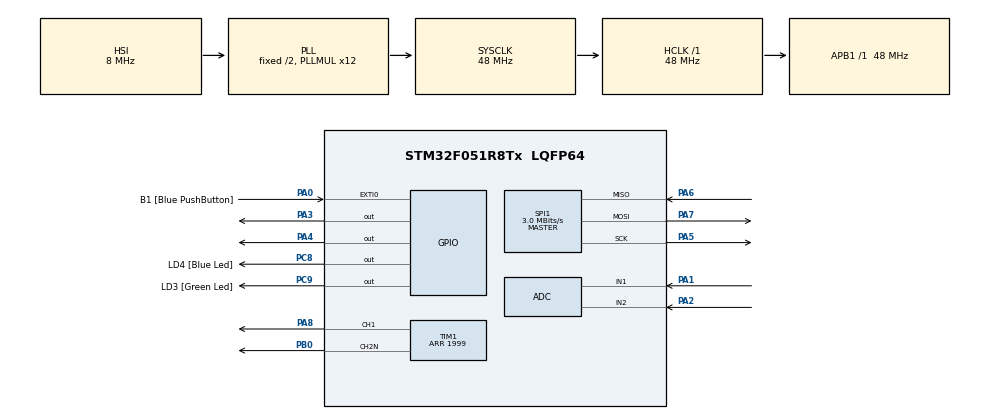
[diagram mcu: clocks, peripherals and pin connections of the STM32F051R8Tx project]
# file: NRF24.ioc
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ADC.ContinuousConvMode=ENABLE
ADC.DMAContinuousRequests=ENABLE
ADC.EOCSelection=ADC_EOC_SEQ_CONV
ADC.SamplingTime=ADC_SAMPLETIME_239CYCLES_5
Dma.ADC.0.Direction=DMA_PERIPH_TO_MEMORY
Dma.ADC.0.Instance=DMA1_Channel1
Dma.ADC.0.MemDataAlignment=DMA_MDATAALIGN_HALFWORD
Dma.ADC.0.MemInc=DMA_MINC_ENABLE
Dma.ADC.0.Mode=DMA_CIRCULAR
Dma.ADC.0.PeriphDataAlignment=DMA_PDATAALIGN_HALFWORD
Dma.ADC.0.PeriphInc=DMA_PINC_DISABLE
Dma.ADC.0.Priority=DMA_PRIORITY_LOW
Dma.Request0=ADC
Mcu.Family=STM32F0
Mcu.Name=STM32F051R8Tx
Mcu.Package=LQFP64
NVIC.ADC1_COMP_IRQn=true\:0\:0\:false\:false\:true\:true\:true\:true
NVIC.DMA1_Channel1_IRQn=true\:0\:0\:false\:false\:true\:false\:true\:true
PA0.GPIO_Label=B1 [Blue PushButton]
PA0.GPIO_ModeDefaultEXTI=GPIO_MODE_EVT_RISING
PA0.Signal=GPXTI0
PA1.Mode=IN1
PA1.Signal=ADC_IN1
PA13.GPIO_Label=SWDIO
PA13.Mode=Serial_Wire
PA13.Signal=SYS_SWDIO
PA14.GPIO_Label=SWCLK
PA14.Mode=Serial_Wire
PA14.Signal=SYS_SWCLK
PA2.Mode=IN2
PA2.Signal=ADC_IN2
PA3.Signal=GPIO_Output
PA4.Signal=GPIO_Output
PA5.Mode=Full_Duplex_Master
PA5.Signal=SPI1_SCK
PA6.Mode=Full_Duplex_Master
PA6.Signal=SPI1_MISO
PA7.Mode=Full_Duplex_Master
PA7.Signal=SPI1_MOSI
PA8.Signal=S_TIM1_CH1
PB0.Mode=PWM Generation2 CH2N
PB0.Signal=TIM1_CH2N
PC8.GPIO_Label=LD4 [Blue Led]
PC8.Signal=GPIO_Output
PC9.GPIO_Label=LD3 [Green Led]
PC9.Signal=GPIO_Output
PF0-OSC_IN.Mode=HSE-External-Oscillator
PF0-OSC_IN.Signal=RCC_OSC_IN
PF1-OSC_OUT.Mode=HSE-External-Oscillator
PF1-OSC_OUT.Signal=RCC_OSC_OUT
ProjectManager.HeapSize=0x200
ProjectManager.StackSize=0x400
ProjectManager.TargetToolchain=MDK-ARM V5.32
RCC.AHBFreq_Value=48000000
RCC.APB1Freq_Value=48000000
RCC.APB1TimFreq_Value=48000000
RCC.HCLKFreq_Value=48000000
RCC.PLLMUL=RCC_PLL_MUL12
RCC.SYSCLKFreq_VALUE=48000000
RCC.SYSCLKSource=RCC_SYSCLKSOURCE_PLLCLK
SH.S_TIM1_CH1.0=TIM1_CH1,PWM Generation1 CH1
SPI1.BaudRatePrescaler=SPI_BAUDRATEPRESCALER_16
SPI1.CalculateBaudRate=3.0 MBits/s
SPI1.DataSize=SPI_DATASIZE_8BIT
SPI1.Direction=SPI_DIRECTION_2LINES
SPI1.Mode=SPI_MODE_MASTER
SPI1.VirtualType=VM_MASTER
TIM1.Channel-PWM\ Generation1\ CH1=TIM_CHANNEL_1
TIM1.Channel-PWM\ Generation2\ CH2N=TIM_CHANNEL_2
TIM1.Period=1999
board=STM32F0DISCOVERY

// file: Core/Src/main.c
 /* USER CODE BEGIN Header */
/**
  ******************************************************************************
  * @file           : main.c
  * @brief          : Main program body
  ******************************************************************************
  * @attention
  *
  * Copyright (c) 2025 STMicroelectronics.
  * All rights reserved.
  *
  * This software is licensed under terms that can be found in the LICENSE file
  * in the root directory of this software component.
  * If no LICENSE file comes with this software, it is provided AS-IS.
  *
  ******************************************************************************
  */
/* USER CODE END Header */
#include "main.h"

/* USER CODE BEGIN Includes */
#include "NRF.h"
/* USER CODE END Includes */

ADC_HandleTypeDef hadc;
DMA_HandleTypeDef hdma_adc;

SPI_HandleTypeDef hspi1;

TIM_HandleTypeDef htim1;

void SystemClock_Config(void);
static void MX_GPIO_Init(void);
static void MX_DMA_Init(void);
static void MX_SPI1_Init(void);
static void MX_TIM1_Init(void);
static void MX_ADC_Init(void);
/* USER CODE BEGIN PFP */
uint16_t ADC_to_CCR(uint16_t adc);
/* USER CODE END PFP */

/* USER CODE BEGIN 0 */
int a = 0;
uint16_t b = 0;
int TX_EMPTY = 5;
int DataInFifo = 5;
uint8_t receivedData = 0;
uint8_t status;

uint8_t TxAddress[] = {0xEE,0xDD,0xCC,0xBB,0xAA};
uint8_t RxAddress[] = {0xEE,0xDD,0xCC,0xBB,0xAA};
uint8_t TxData[5];   // 32-byte buffer
uint8_t RxData[32];
uint8_t number = 5;

uint8_t data[50];

uint8_t last_press = 0;
uint8_t last_btn  = 0;

uint16_t arr[2] = {0,0};
uint16_t x1, x2, y1, y2;
uint16_t rx[2] = {0,0};

uint8_t rf;
uint8_t cfg;

/* USER CODE END 0 */

int main(void)
{

  /* MCU Configuration--------------------------------------------------------*/

  /* Reset of all peripherals, Initializes the Flash interface and the Systick. */
  HAL_Init();

  /* Configure the system clock */
  SystemClock_Config();

  /* Initialize all configured peripherals */
  MX_GPIO_Init();
  MX_DMA_Init();
  MX_SPI1_Init();
  MX_TIM1_Init();
  MX_ADC_Init();
  /* USER CODE BEGIN 2 */

  HAL_ADC_Start_DMA(&hadc, (uint32_t*)arr, 2);
	/* Initialize NRF24L01 */
	NRF24_Init();
//	NRF24_RxMode(RxAddress, 76);
	NRF24_TxMode(TxAddress, 76);
//	TxData[0] = 42;
//    NRF24_Init();
//
//     /* Switch to RX mode */
//    NRF24_TxMode();
//    uint8_t txData = 5;
    /* Buffer to receive integer data */

//		uint8_t st = nrf24_ReadReg(STATUS);
//if (st == 0x00 || st == 0xFF) {
//    // SPI/power/wiring problem
//    while (1) {
//        HAL_GPIO_TogglePin(GPIOC, GPIO_PIN_8);
//        HAL_Delay(100);   // fast blink = SPI dead
//    }
//} else {
//    while (1) {
//        HAL_GPIO_TogglePin(GPIOC, GPIO_PIN_8);
//        HAL_Delay(1000);   // slow blink = SPI OK
//    }
//}

	rf = nrf24_ReadReg(RF_SETUP);
	cfg = nrf24_ReadReg(CONFIG);

//		HAL_GPIO_WritePin(GPIOB, GPIO_PIN_13, GPIO_PIN_SET);
  /* USER CODE END 2 */

  /* Infinite loop */
  while (1)
  {

    /* USER CODE BEGIN 3 */

		uint16_t x, y;

    __disable_irq();
    x = arr[0];
    y = arr[1];
    __enable_irq();

    TxData[0] = (uint8_t)(x & 0xFF);
    TxData[1] = (uint8_t)(x >> 8);
    TxData[2] = (uint8_t)(y & 0xFF);
    TxData[3] = (uint8_t)(y >> 8);

    if (NRF24_Transmit(TxData) == 1)
    {
        b++;
        HAL_GPIO_TogglePin(GPIOC, GPIO_PIN_9);
    }

    HAL_Delay(10);

  }
  /* USER CODE END 3 */
}

void SystemClock_Config(void)
{
  RCC_OscInitTypeDef RCC_OscInitStruct = {0};
  RCC_ClkInitTypeDef RCC_ClkInitStruct = {0};

  /** Initializes the RCC Oscillators according to the specified parameters
  * in the RCC_OscInitTypeDef structure.
  */
  RCC_OscInitStruct.OscillatorType = RCC_OSCILLATORTYPE_HSI|RCC_OSCILLATORTYPE_HSI14;
  RCC_OscInitStruct.HSIState = RCC_HSI_ON;
  RCC_OscInitStruct.HSI14State = RCC_HSI14_ON;
  RCC_OscInitStruct.HSICalibrationValue = RCC_HSICALIBRATION_DEFAULT;
  RCC_OscInitStruct.HSI14CalibrationValue = 16;
  RCC_OscInitStruct.PLL.PLLState = RCC_PLL_ON;
  RCC_OscInitStruct.PLL.PLLSource = RCC_PLLSOURCE_HSI;
  RCC_OscInitStruct.PLL.PLLMUL = RCC_PLL_MUL12;
  RCC_OscInitStruct.PLL.PREDIV = RCC_PREDIV_DIV1;
  if (HAL_RCC_OscConfig(&RCC_OscInitStruct) != HAL_OK)
  {
    Error_Handler();
  }

  /** Initializes the CPU, AHB and APB buses clocks
  */
  RCC_ClkInitStruct.ClockType = RCC_CLOCKTYPE_HCLK|RCC_CLOCKTYPE_SYSCLK
                              |RCC_CLOCKTYPE_PCLK1;
  RCC_ClkInitStruct.SYSCLKSource = RCC_SYSCLKSOURCE_PLLCLK;
  RCC_ClkInitStruct.AHBCLKDivider = RCC_SYSCLK_DIV1;
  RCC_ClkInitStruct.APB1CLKDivider = RCC_HCLK_DIV1;

  if (HAL_RCC_ClockConfig(&RCC_ClkInitStruct, FLASH_LATENCY_1) != HAL_OK)
  {
    Error_Handler();
  }
}

static void MX_ADC_Init(void)
{

  ADC_ChannelConfTypeDef sConfig = {0};

  /** Configure the global features of the ADC (Clock, Resolution, Data Alignment and number of conversion)
  */
  hadc.Instance = ADC1;
  hadc.Init.ClockPrescaler = ADC_CLOCK_ASYNC_DIV1;
  hadc.Init.Resolution = ADC_RESOLUTION_12B;
  hadc.Init.DataAlign = ADC_DATAALIGN_RIGHT;
  hadc.Init.ScanConvMode = ADC_SCAN_DIRECTION_FORWARD;
  hadc.Init.EOCSelection = ADC_EOC_SEQ_CONV;
  hadc.Init.LowPowerAutoWait = DISABLE;
  hadc.Init.LowPowerAutoPowerOff = DISABLE;
  hadc.Init.ContinuousConvMode = ENABLE;
  hadc.Init.DiscontinuousConvMode = DISABLE;
  hadc.Init.ExternalTrigConv = ADC_SOFTWARE_START;
  hadc.Init.ExternalTrigConvEdge = ADC_EXTERNALTRIGCONVEDGE_NONE;
  hadc.Init.DMAContinuousRequests = ENABLE;
  hadc.Init.Overrun = ADC_OVR_DATA_PRESERVED;
  if (HAL_ADC_Init(&hadc) != HAL_OK)
  {
    Error_Handler();
  }

  /** Configure for the selected ADC regular channel to be converted.
  */
  sConfig.Channel = ADC_CHANNEL_1;
  sConfig.Rank = ADC_RANK_CHANNEL_NUMBER;
  sConfig.SamplingTime = ADC_SAMPLETIME_239CYCLES_5;
  if (HAL_ADC_ConfigChannel(&hadc, &sConfig) != HAL_OK)
  {
    Error_Handler();
  }

  /** Configure for the selected ADC regular channel to be converted.
  */
  sConfig.Channel = ADC_CHANNEL_2;
  if (HAL_ADC_ConfigChannel(&hadc, &sConfig) != HAL_OK)
  {
    Error_Handler();
  }

}

static void MX_SPI1_Init(void)
{

  /* SPI1 parameter configuration*/
  hspi1.Instance = SPI1;
  hspi1.Init.Mode = SPI_MODE_MASTER;
  hspi1.Init.Direction = SPI_DIRECTION_2LINES;
  hspi1.Init.DataSize = SPI_DATASIZE_8BIT;
  hspi1.Init.CLKPolarity = SPI_POLARITY_LOW;
  hspi1.Init.CLKPhase = SPI_PHASE_1EDGE;
  hspi1.Init.NSS = SPI_NSS_SOFT;
  hspi1.Init.BaudRatePrescaler = SPI_BAUDRATEPRESCALER_16;
  hspi1.Init.FirstBit = SPI_FIRSTBIT_MSB;
  hspi1.Init.TIMode = SPI_TIMODE_DISABLE;
  hspi1.Init.CRCCalculation = SPI_CRCCALCULATION_DISABLE;
  hspi1.Init.CRCPolynomial = 7;
  hspi1.Init.CRCLength = SPI_CRC_LENGTH_DATASIZE;
  hspi1.Init.NSSPMode = SPI_NSS_PULSE_ENABLE;
  if (HAL_SPI_Init(&hspi1) != HAL_OK)
  {
    Error_Handler();
  }

}

static void MX_TIM1_Init(void)
{

  TIM_MasterConfigTypeDef sMasterConfig = {0};
  TIM_OC_InitTypeDef sConfigOC = {0};
  TIM_BreakDeadTimeConfigTypeDef sBreakDeadTimeConfig = {0};

  htim1.Instance = TIM1;
  htim1.Init.Prescaler = 0;
  htim1.Init.CounterMode = TIM_COUNTERMODE_UP;
  htim1.Init.Period = 1999;
  htim1.Init.ClockDivision = TIM_CLOCKDIVISION_DIV1;
  htim1.Init.RepetitionCounter = 0;
  htim1.Init.AutoReloadPreload = TIM_AUTORELOAD_PRELOAD_DISABLE;
  if (HAL_TIM_PWM_Init(&htim1) != HAL_OK)
  {
    Error_Handler();
  }
  sMasterConfig.MasterOutputTrigger = TIM_TRGO_RESET;
  sMasterConfig.MasterSlaveMode = TIM_MASTERSLAVEMODE_DISABLE;
  if (HAL_TIMEx_MasterConfigSynchronization(&htim1, &sMasterConfig) != HAL_OK)
  {
    Error_Handler();
  }
  sConfigOC.OCMode = TIM_OCMODE_PWM1;
  sConfigOC.Pulse = 0;
  sConfigOC.OCPolarity = TIM_OCPOLARITY_HIGH;
  sConfigOC.OCNPolarity = TIM_OCNPOLARITY_HIGH;
  sConfigOC.OCFastMode = TIM_OCFAST_DISABLE;
  sConfigOC.OCIdleState = TIM_OCIDLESTATE_RESET;
  sConfigOC.OCNIdleState = TIM_OCNIDLESTATE_RESET;
  if (HAL_TIM_PWM_ConfigChannel(&htim1, &sConfigOC, TIM_CHANNEL_1) != HAL_OK)
  {
    Error_Handler();
  }
  if (HAL_TIM_PWM_ConfigChannel(&htim1, &sConfigOC, TIM_CHANNEL_2) != HAL_OK)
  {
    Error_Handler();
  }
  sBreakDeadTimeConfig.OffStateRunMode = TIM_OSSR_DISABLE;
  sBreakDeadTimeConfig.OffStateIDLEMode = TIM_OSSI_DISABLE;
  sBreakDeadTimeConfig.LockLevel = TIM_LOCKLEVEL_OFF;
  sBreakDeadTimeConfig.DeadTime = 0;
  sBreakDeadTimeConfig.BreakState = TIM_BREAK_DISABLE;
  sBreakDeadTimeConfig.BreakPolarity = TIM_BREAKPOLARITY_HIGH;
  sBreakDeadTimeConfig.AutomaticOutput = TIM_AUTOMATICOUTPUT_DISABLE;
  if (HAL_TIMEx_ConfigBreakDeadTime(&htim1, &sBreakDeadTimeConfig) != HAL_OK)
  {
    Error_Handler();
  }
  HAL_TIM_MspPostInit(&htim1);

}

static void MX_DMA_Init(void)
{

  /* DMA controller clock enable */
  __HAL_RCC_DMA1_CLK_ENABLE();

  /* DMA interrupt init */
  /* DMA1_Channel1_IRQn interrupt configuration */
  HAL_NVIC_SetPriority(DMA1_Channel1_IRQn, 0, 0);
  HAL_NVIC_EnableIRQ(DMA1_Channel1_IRQn);

}

static void MX_GPIO_Init(void)
{
  GPIO_InitTypeDef GPIO_InitStruct = {0};

  /* GPIO Ports Clock Enable */
  __HAL_RCC_GPIOF_CLK_ENABLE();
  __HAL_RCC_GPIOA_CLK_ENABLE();
  __HAL_RCC_GPIOB_CLK_ENABLE();
  __HAL_RCC_GPIOC_CLK_ENABLE();

  /*Configure GPIO pin Output Level */
  HAL_GPIO_WritePin(GPIOA, GPIO_PIN_3|GPIO_PIN_4, GPIO_PIN_RESET);

  /*Configure GPIO pin Output Level */
  HAL_GPIO_WritePin(GPIOC, LD4_Pin|LD3_Pin, GPIO_PIN_RESET);

  /*Configure GPIO pin : B1_Pin */
  GPIO_InitStruct.Pin = B1_Pin;
  GPIO_InitStruct.Mode = GPIO_MODE_EVT_RISING;
  GPIO_InitStruct.Pull = GPIO_NOPULL;
  HAL_GPIO_Init(B1_GPIO_Port, &GPIO_InitStruct);

  /*Configure GPIO pins : PA3 PA4 */
  GPIO_InitStruct.Pin = GPIO_PIN_3|GPIO_PIN_4;
  GPIO_InitStruct.Mode = GPIO_MODE_OUTPUT_PP;
  GPIO_InitStruct.Pull = GPIO_NOPULL;
  GPIO_InitStruct.Speed = GPIO_SPEED_FREQ_LOW;
  HAL_GPIO_Init(GPIOA, &GPIO_InitStruct);

  /*Configure GPIO pins : LD4_Pin LD3_Pin */
  GPIO_InitStruct.Pin = LD4_Pin|LD3_Pin;
  GPIO_InitStruct.Mode = GPIO_MODE_OUTPUT_PP;
  GPIO_InitStruct.Pull = GPIO_NOPULL;
  GPIO_InitStruct.Speed = GPIO_SPEED_FREQ_LOW;
  HAL_GPIO_Init(GPIOC, &GPIO_InitStruct);

}

/* USER CODE BEGIN 4 */
uint16_t ADC_to_CCR(uint16_t adc)
{
    // Clamp ADC to valid range
    if (adc < 320)  adc = 320;
    if (adc > 3600) adc = 3600;

    // Linear mapping: 320–3600 -> 200–1900
    return (uint16_t)((adc - 320) * 1700 / 3280 + 200);
}
/* USER CODE END 4 */

void Error_Handler(void)
{
  __disable_irq();
  while (1)
  {
  }
}
